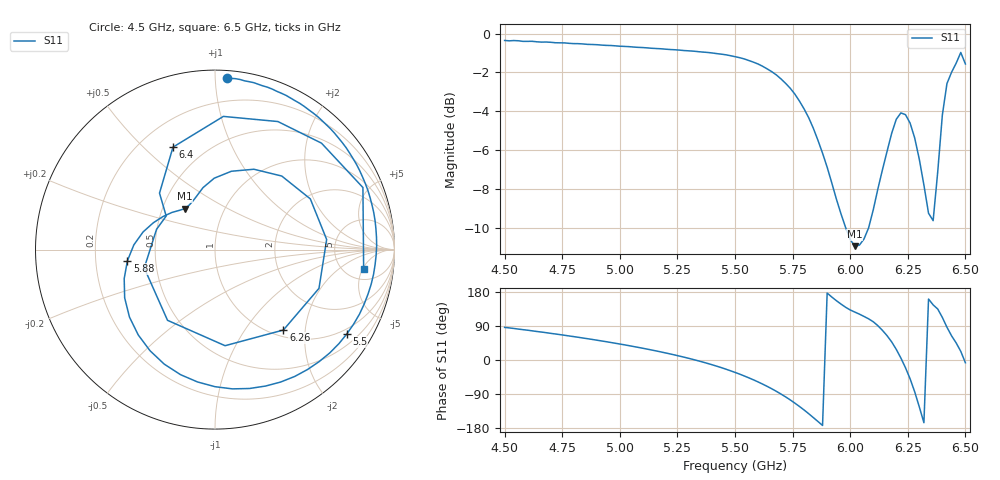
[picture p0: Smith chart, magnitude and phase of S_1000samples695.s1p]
! TOUCHSTONE file generated by CST MICROWAVE STUDIO
! Date and time: Sat Oct 29 01:36:38 2022
! Project name: L.cst
! Parameters = {Di=1.27; Epsilon_r=1.56; InnerDiameter=1.27; Length=2; Lf=10; Lg=60; OuterConductorThickness=0.2921; OuterDiameter=3.6; Wf=3; Wp=41.2; de=1.5; df=6.8; g=0.8; gx=4.89844; gy=1.92684; h=2.34; hf=1.524; px=9.08678; py=13.582; w=9.7; wx=4.18834; wy=11.6552}
! Header version: 2018
! Port assignment regex: !\s*Touchstone port\s*([0-9]+)\s*=\s*(CST MWS port|CST DS port)\s*([0-9]+|Zmin|Zmax)\s*\(\"(.*)\"\)(\s*mode\s*([0-9]+))?.*
! Touchstone port assignment:
! Touchstone port 1 = CST MWS port 1 ("")
# GHz S DB R 50
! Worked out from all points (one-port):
!   101 points, 4.5 GHz to 6.5 GHz, reference 50 ohm
!   lowest |S11| = -10.9 dB at 6.02 GHz (marker M1), VSWR 1.79, Z = 32.4 + j16.1 ohm
!   |S11| at or under -10 dB: 5.981 GHz to 6.08 GHz (99.44 MHz wide, 1.65 % of centre)
!   S11 on the Smith chart (normalised r, x): 4.5 GHz: 0.04, +1.07; 5.5 GHz: 0.82, -3.22; 5.88 GHz: 0.34, -0.06; 6.26 GHz: 1.12, -1.53; 6.4 GHz: 0.34, +0.62; 6.5 GHz: 7.41, -5.21
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4.5  -0.36 86.1
4.76  -0.48 65.2
5  -0.65 42.2
5.26  -0.86 10.2
5.4  -1.00 -12.5
5.5  -1.19 -32.7
5.66  -1.97 -76.1
5.76  -3.12 -113.9
5.82  -4.34 -141.7
5.88  -6.16 -172.7
5.94  -8.52 156.6
6  -10.60 132.1
6.02  -10.95 126.5
6.12  -8.01 90.6
6.18  -5.14 47.8
6.22  -4.09 5.2
6.24  -4.18 -20.4
6.26  -4.61 -49.6
6.28  -5.38 -84.0
6.3  -6.47 -123.9
6.32  -7.80 -165.5
6.34  -9.25 160.8
6.36  -9.63 145.5
6.4  -4.19 112.3
6.42  -2.57 86.4
6.46  -1.53 45.0
6.48  -0.98 22.8
6.5  -1.57 -7.3
